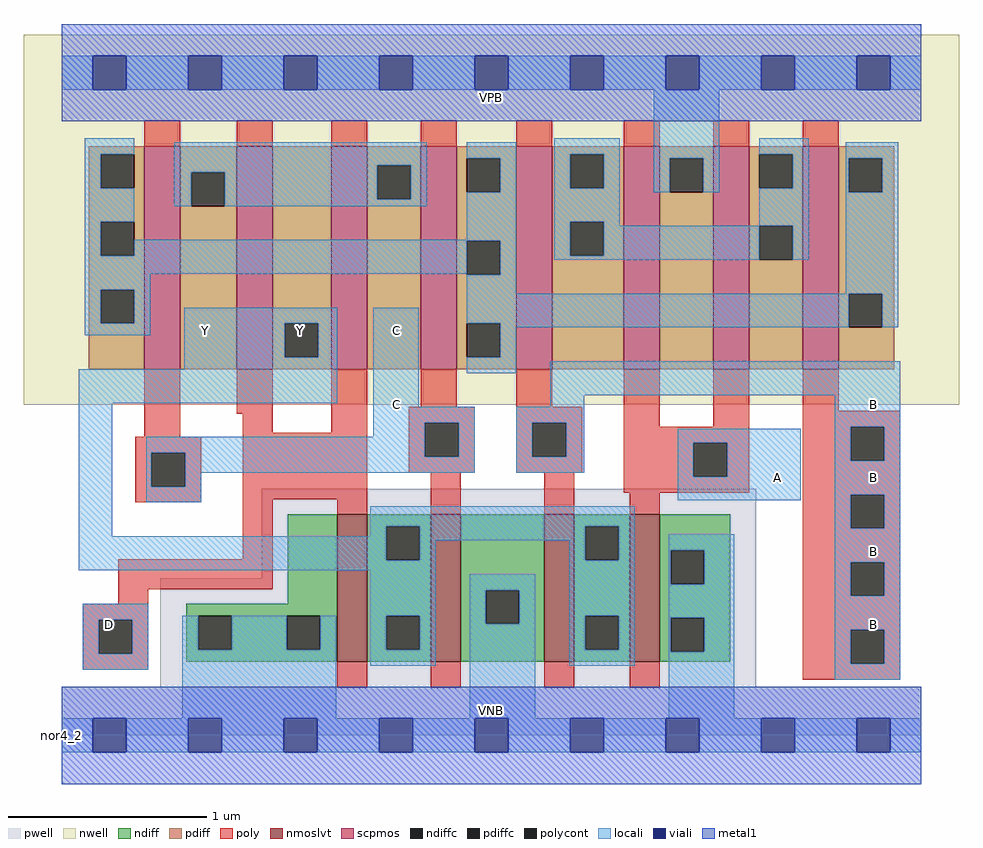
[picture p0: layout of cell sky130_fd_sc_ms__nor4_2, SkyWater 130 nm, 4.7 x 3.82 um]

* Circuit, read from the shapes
.subckt sky130_fd_sc_ms__nor4_2 A B C D VGND VNB VPB VPWR Y
XM1 Y D VGND VNB sky130_fd_pr__nfet_01v8_lvt w=0.74 l=0.15
XM2 VGND C Y VNB sky130_fd_pr__nfet_01v8_lvt w=0.74 l=0.15
XM3 Y B VGND VNB sky130_fd_pr__nfet_01v8_lvt w=0.74 l=0.15
XM4 VGND A Y VNB sky130_fd_pr__nfet_01v8_lvt w=0.74 l=0.15
XM5 n1 C n2 VPB sky130_fd_pr__pfet_01v8 w=1.12 l=0.18 m=2
XM6 Y D n1 VPB sky130_fd_pr__pfet_01v8 w=1.12 l=0.18 m=2
XM7 n3 B n2 VPB sky130_fd_pr__pfet_01v8 w=1.12 l=0.18 m=2
XM8 VPWR A n3 VPB sky130_fd_pr__pfet_01v8 w=1.12 l=0.18 m=2
.ends

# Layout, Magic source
magic
tech sky130A
magscale 1 2
<< nwell >>
rect -38 332 902 704
<< pwell >>
rect 201 158 698 248
rect 99 49 698 158
rect 0 0 864 49
<< scpmos >>
rect 83 368 119 592
rect 176 368 212 592
rect 271 368 307 592
rect 361 368 397 592
rect 457 368 493 592
rect 565 368 601 592
rect 655 368 691 592
rect 745 368 781 592
<< nmoslvt >>
rect 277 74 307 222
rect 371 74 401 222
rect 485 74 515 222
rect 571 74 601 222
<< ndiff >>
rect 227 132 277 222
rect 125 120 277 132
rect 125 86 137 120
rect 171 86 226 120
rect 260 86 277 120
rect 125 74 277 86
rect 307 210 371 222
rect 307 176 326 210
rect 360 176 371 210
rect 307 120 371 176
rect 307 86 326 120
rect 360 86 371 120
rect 307 74 371 86
rect 401 146 485 222
rect 401 112 426 146
rect 460 112 485 146
rect 401 74 485 112
rect 515 210 571 222
rect 515 176 526 210
rect 560 176 571 210
rect 515 120 571 176
rect 515 86 526 120
rect 560 86 571 120
rect 515 74 571 86
rect 601 186 672 222
rect 601 152 612 186
rect 646 152 672 186
rect 601 118 672 152
rect 601 84 612 118
rect 646 84 672 118
rect 601 74 672 84
<< pdiff >>
rect 27 584 83 592
rect 27 550 39 584
rect 73 550 83 584
rect 27 516 83 550
rect 27 482 39 516
rect 73 482 83 516
rect 27 448 83 482
rect 27 414 39 448
rect 73 414 83 448
rect 27 368 83 414
rect 119 566 176 592
rect 119 532 130 566
rect 164 532 176 566
rect 119 368 176 532
rect 212 414 271 592
rect 212 380 224 414
rect 258 380 271 414
rect 212 368 271 380
rect 307 573 361 592
rect 307 539 317 573
rect 351 539 361 573
rect 307 368 361 539
rect 397 580 457 592
rect 397 546 407 580
rect 441 546 457 580
rect 397 497 457 546
rect 397 463 407 497
rect 441 463 457 497
rect 397 414 457 463
rect 397 380 407 414
rect 441 380 457 414
rect 397 368 457 380
rect 493 584 565 592
rect 493 550 511 584
rect 545 550 565 584
rect 493 516 565 550
rect 493 482 511 516
rect 545 482 565 516
rect 493 368 565 482
rect 601 580 655 592
rect 601 546 611 580
rect 645 546 655 580
rect 601 368 655 546
rect 691 584 745 592
rect 691 550 701 584
rect 735 550 745 584
rect 691 512 745 550
rect 691 478 701 512
rect 735 478 745 512
rect 691 368 745 478
rect 781 580 837 592
rect 781 546 791 580
rect 825 546 837 580
rect 781 444 837 546
rect 781 410 791 444
rect 825 410 837 444
rect 781 368 837 410
<< ndiffc >>
rect 137 86 171 120
rect 226 86 260 120
rect 326 176 360 210
rect 326 86 360 120
rect 426 112 460 146
rect 526 176 560 210
rect 526 86 560 120
rect 612 152 646 186
rect 612 84 646 118
<< pdiffc >>
rect 39 550 73 584
rect 39 482 73 516
rect 39 414 73 448
rect 130 532 164 566
rect 224 380 258 414
rect 317 539 351 573
rect 407 546 441 580
rect 407 463 441 497
rect 407 380 441 414
rect 511 550 545 584
rect 511 482 545 516
rect 611 546 645 580
rect 701 550 735 584
rect 701 478 735 512
rect 791 546 825 580
rect 791 410 825 444
<< poly >>
rect 83 592 119 618
rect 176 592 212 618
rect 271 592 307 618
rect 361 592 397 618
rect 457 592 493 618
rect 565 592 601 618
rect 655 592 691 618
rect 745 592 781 618
rect 83 300 119 368
rect 176 323 212 368
rect 182 304 212 323
rect 271 304 307 368
rect 361 330 397 368
rect 457 330 493 368
rect 74 284 140 300
rect 74 250 90 284
rect 124 250 140 284
rect 74 234 140 250
rect 182 237 307 304
rect 349 314 415 330
rect 349 280 365 314
rect 399 280 415 314
rect 349 264 415 280
rect 457 314 523 330
rect 457 280 473 314
rect 507 280 523 314
rect 457 264 523 280
rect 565 310 601 368
rect 655 310 691 368
rect 565 294 691 310
rect 182 177 212 237
rect 277 222 307 237
rect 371 222 401 264
rect 485 222 515 264
rect 565 260 635 294
rect 669 260 691 294
rect 565 244 691 260
rect 745 326 781 368
rect 745 310 843 326
rect 745 276 793 310
rect 827 276 843 310
rect 571 222 601 244
rect 745 242 843 276
rect 57 147 212 177
rect 57 132 87 147
rect 21 116 87 132
rect 21 82 37 116
rect 71 82 87 116
rect 21 66 87 82
rect 745 208 793 242
rect 827 208 843 242
rect 745 174 843 208
rect 745 140 793 174
rect 827 140 843 174
rect 745 106 843 140
rect 277 48 307 74
rect 371 48 401 74
rect 485 48 515 74
rect 571 48 601 74
rect 745 72 793 106
rect 827 72 843 106
rect 745 56 843 72
<< polycont >>
rect 90 250 124 284
rect 365 280 399 314
rect 473 280 507 314
rect 635 260 669 294
rect 793 276 827 310
rect 37 82 71 116
rect 793 208 827 242
rect 793 140 827 174
rect 793 72 827 106
<< locali >>
rect 0 649 31 683
rect 65 649 127 683
rect 161 649 223 683
rect 257 649 319 683
rect 353 649 415 683
rect 449 649 511 683
rect 545 649 607 683
rect 641 649 703 683
rect 737 649 799 683
rect 833 649 864 683
rect 23 584 73 600
rect 23 550 39 584
rect 23 516 73 550
rect 113 573 367 596
rect 113 566 317 573
rect 113 532 130 566
rect 164 539 317 566
rect 351 539 367 573
rect 164 532 367 539
rect 407 580 457 596
rect 441 546 457 580
rect 23 482 39 516
rect 407 498 457 546
rect 73 497 457 498
rect 73 482 407 497
rect 23 464 407 482
rect 23 448 89 464
rect 23 414 39 448
rect 73 414 89 448
rect 441 463 457 497
rect 495 584 561 600
rect 495 550 511 584
rect 545 550 561 584
rect 495 516 561 550
rect 595 580 661 649
rect 595 546 611 580
rect 645 546 661 580
rect 701 584 751 600
rect 735 550 751 584
rect 495 482 511 516
rect 545 512 561 516
rect 701 512 751 550
rect 545 482 701 512
rect 495 478 701 482
rect 735 478 751 512
rect 788 580 841 596
rect 788 546 791 580
rect 825 546 841 580
rect 407 444 457 463
rect 788 444 841 546
rect 23 402 89 414
rect 123 414 277 430
rect 123 380 224 414
rect 258 380 277 414
rect 123 368 277 380
rect 17 334 277 368
rect 17 200 51 334
rect 313 330 359 430
rect 407 414 791 444
rect 441 410 791 414
rect 825 410 841 444
rect 441 380 457 410
rect 407 364 457 380
rect 491 342 843 376
rect 491 330 525 342
rect 313 314 415 330
rect 313 300 365 314
rect 85 284 365 300
rect 85 250 90 284
rect 124 280 365 284
rect 399 280 415 314
rect 124 264 415 280
rect 457 314 525 330
rect 457 280 473 314
rect 507 280 525 314
rect 777 310 843 342
rect 457 264 525 280
rect 619 294 743 308
rect 124 250 140 264
rect 85 234 140 250
rect 619 260 635 294
rect 669 260 743 294
rect 619 236 743 260
rect 777 276 793 310
rect 827 276 843 310
rect 777 242 843 276
rect 310 210 576 230
rect 310 200 326 210
rect 17 176 326 200
rect 360 196 526 210
rect 360 176 376 196
rect 17 166 376 176
rect 21 116 87 132
rect 310 120 376 166
rect 510 176 526 196
rect 560 176 576 210
rect 777 208 793 242
rect 827 208 843 242
rect 21 82 37 116
rect 71 82 87 116
rect 21 66 87 82
rect 121 86 137 120
rect 171 86 226 120
rect 260 86 276 120
rect 121 17 276 86
rect 310 86 326 120
rect 360 86 376 120
rect 310 70 376 86
rect 410 146 476 162
rect 410 112 426 146
rect 460 112 476 146
rect 410 17 476 112
rect 510 120 576 176
rect 510 86 526 120
rect 560 86 576 120
rect 510 70 576 86
rect 610 186 676 202
rect 610 152 612 186
rect 646 152 676 186
rect 610 118 676 152
rect 610 84 612 118
rect 646 84 676 118
rect 610 17 676 84
rect 777 174 843 208
rect 777 140 793 174
rect 827 140 843 174
rect 777 106 843 140
rect 777 72 793 106
rect 827 72 843 106
rect 777 56 843 72
rect 0 -17 31 17
rect 65 -17 127 17
rect 161 -17 223 17
rect 257 -17 319 17
rect 353 -17 415 17
rect 449 -17 511 17
rect 545 -17 607 17
rect 641 -17 703 17
rect 737 -17 799 17
rect 833 -17 864 17
<< viali >>
rect 31 649 65 683
rect 127 649 161 683
rect 223 649 257 683
rect 319 649 353 683
rect 415 649 449 683
rect 511 649 545 683
rect 607 649 641 683
rect 703 649 737 683
rect 799 649 833 683
rect 31 -17 65 17
rect 127 -17 161 17
rect 223 -17 257 17
rect 319 -17 353 17
rect 415 -17 449 17
rect 511 -17 545 17
rect 607 -17 641 17
rect 703 -17 737 17
rect 799 -17 833 17
<< metal1 >>
rect 0 683 864 715
rect 0 649 31 683
rect 65 649 127 683
rect 161 649 223 683
rect 257 649 319 683
rect 353 649 415 683
rect 449 649 511 683
rect 545 649 607 683
rect 641 649 703 683
rect 737 649 799 683
rect 833 649 864 683
rect 0 617 864 649
rect 0 17 864 49
rect 0 -17 31 17
rect 65 -17 127 17
rect 161 -17 223 17
rect 257 -17 319 17
rect 353 -17 415 17
rect 449 -17 511 17
rect 545 -17 607 17
rect 641 -17 703 17
rect 737 -17 799 17
rect 833 -17 864 17
rect 0 -49 864 -17
<< labels >>
flabel pwell s 0 0 864 49 0 FreeSans 200 0 0 0 VNB
port 6 nsew ground bidirectional
flabel nwell s 0 617 864 666 0 FreeSans 200 0 0 0 VPB
port 7 nsew power bidirectional
rlabel comment s 0 0 0 0 4 nor4_2
flabel metal1 s 0 617 864 666 0 FreeSans 340 0 0 0 VPWR
port 8 nsew power bidirectional
flabel metal1 s 0 0 864 49 0 FreeSans 340 0 0 0 VGND
port 5 nsew ground bidirectional
flabel locali s 319 316 353 350 0 FreeSans 340 0 0 0 C
port 3 nsew signal input
flabel locali s 319 390 353 424 0 FreeSans 340 0 0 0 C
port 3 nsew signal input
flabel locali s 703 242 737 276 0 FreeSans 340 0 0 0 A
port 1 nsew signal input
flabel locali s 799 94 833 128 0 FreeSans 340 0 0 0 B
port 2 nsew signal input
flabel locali s 799 168 833 202 0 FreeSans 340 0 0 0 B
port 2 nsew signal input
flabel locali s 799 242 833 276 0 FreeSans 340 0 0 0 B
port 2 nsew signal input
flabel locali s 799 316 833 350 0 FreeSans 340 0 0 0 B
port 2 nsew signal input
flabel locali s 31 94 65 128 0 FreeSans 340 0 0 0 D
port 4 nsew signal input
flabel locali s 127 390 161 424 0 FreeSans 340 0 0 0 Y
port 9 nsew signal output
flabel locali s 223 390 257 424 0 FreeSans 340 0 0 0 Y
port 9 nsew signal output
<< properties >>
string LEFsite unit
string LEFclass CORE
string FIXED_BBOX 0 0 864 666
string GDS_FILE $PDKPATH/libs.ref/sky130_fd_sc_ms/gds/sky130_fd_sc_ms.gds
string LEFsymmetry X Y
string GDS_END 2264682
string GDS_START 2256818
<< end >>
